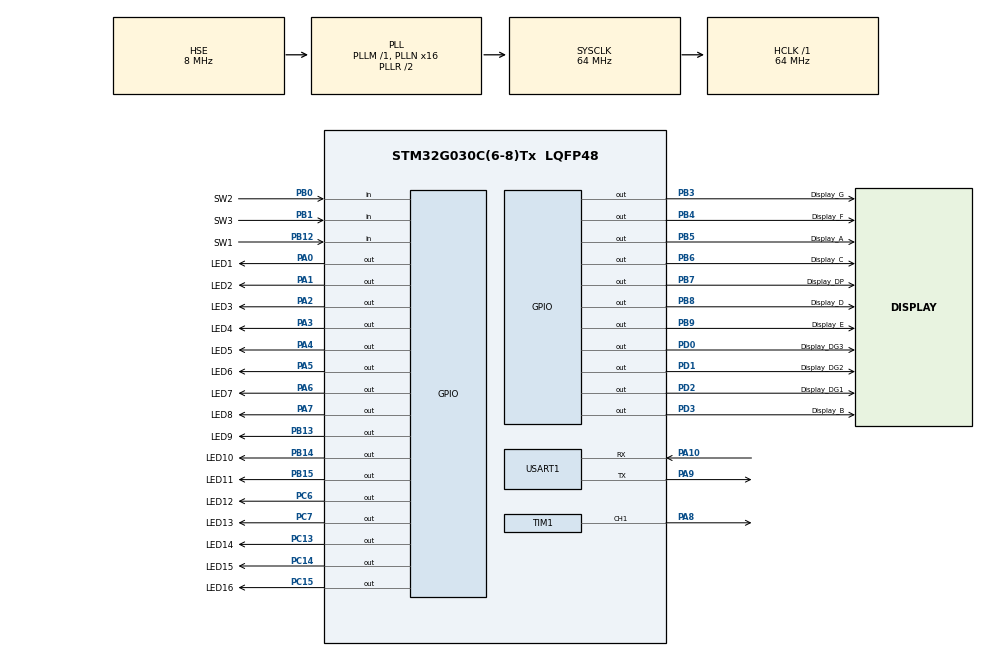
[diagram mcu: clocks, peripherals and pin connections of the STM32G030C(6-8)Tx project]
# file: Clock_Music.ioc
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FREERTOS.BinarySemaphores01=AlarmBinarySem,Dynamic,NULL,Depleted
FREERTOS.Events01=DispEvent,Dynamic,NULL
FREERTOS.HEAP_NUMBER=4
FREERTOS.Mutexes01=TimeMutex,Dynamic,NULL,Available
FREERTOS.Queues01=ComQueue,3,9,1,Dynamic,NULL,NULL;KeyQueue,2,uint8_t,0,Dynamic,NULL,NULL
FREERTOS.Tasks01=ProcTask,24,64,StartProcTask,Default,NULL,Dynamic,NULL,NULL
FREERTOS.Timers01=msTimer,msTimerCallback,osTimerPeriodic,Default,NULL,Dynamic,NULL
FREERTOS.configMINIMAL_STACK_SIZE=64
FREERTOS.configTIMER_TASK_STACK_DEPTH=64
Mcu.Family=STM32G0
Mcu.Name=STM32G030C(6-8)Tx
Mcu.Package=LQFP48
NVIC.TIM16_IRQn=true\:3\:0\:false\:false\:true\:false\:false\:true\:true
NVIC.TimeBase=TIM16_IRQn
NVIC.TimeBaseIP=TIM16
NVIC.USART1_IRQn=true\:3\:0\:false\:false\:true\:true\:true\:true\:true
PA0.GPIO_Label=LED1
PA0.Signal=GPIO_Output
PA1.GPIO_Label=LED2
PA1.Signal=GPIO_Output
PA10.Mode=Asynchronous
PA10.Signal=USART1_RX
PA13.Mode=Serial_Wire
PA13.Signal=SYS_SWDIO
PA14-BOOT0.Mode=Serial_Wire
PA14-BOOT0.Signal=SYS_SWCLK
PA2.GPIO_Label=LED3
PA2.Signal=GPIO_Output
PA3.GPIO_Label=LED4
PA3.Signal=GPIO_Output
PA4.GPIO_Label=LED5
PA4.Signal=GPIO_Output
PA5.GPIO_Label=LED6
PA5.Signal=GPIO_Output
PA6.GPIO_Label=LED7
PA6.Signal=GPIO_Output
PA7.GPIO_Label=LED8
PA7.Signal=GPIO_Output
PA8.Signal=S_TIM1_CH1
PA9.Mode=Asynchronous
PA9.Signal=USART1_TX
PB0.GPIO_Label=SW2
PB0.Signal=GPIO_Input
PB1.GPIO_Label=SW3
PB1.Signal=GPIO_Input
PB12.GPIO_Label=SW1
PB12.Signal=GPIO_Input
PB13.GPIO_Label=LED9
PB13.Signal=GPIO_Output
PB14.GPIO_Label=LED10
PB14.Signal=GPIO_Output
PB15.GPIO_Label=LED11
PB15.Signal=GPIO_Output
PB3.GPIO_Label=Display_G
PB3.Signal=GPIO_Output
PB4.GPIO_Label=Display_F
PB4.Signal=GPIO_Output
PB5.GPIO_Label=Display_A
PB5.Signal=GPIO_Output
PB6.GPIO_Label=Display_C
PB6.Signal=GPIO_Output
PB7.GPIO_Label=Display_DP
PB7.Signal=GPIO_Output
PB8.GPIO_Label=Display_D
PB8.Signal=GPIO_Output
PB9.GPIO_Label=Display_E
PB9.Signal=GPIO_Output
PC13.GPIO_Label=LED14
PC13.Signal=GPIO_Output
PC14-OSC32_IN\ (PC14).GPIO_Label=LED15
PC14-OSC32_IN\ (PC14).Signal=GPIO_Output
PC15-OSC32_OUT\ (PC15).GPIO_Label=LED16
PC15-OSC32_OUT\ (PC15).Signal=GPIO_Output
PC6.GPIO_Label=LED12
PC6.Signal=GPIO_Output
PC7.GPIO_Label=LED13
PC7.Signal=GPIO_Output
PD0.GPIO_Label=Display_DG3
PD0.Signal=GPIO_Output
PD1.GPIO_Label=Display_DG2
PD1.Signal=GPIO_Output
PD2.GPIO_Label=Display_DG1
PD2.Signal=GPIO_Output
PD3.GPIO_Label=Display_B
PD3.Signal=GPIO_Output
PF0-OSC_IN\ (PF0).Mode=HSE-External-Oscillator
PF0-OSC_IN\ (PF0).Signal=RCC_OSC_IN
PF1-OSC_OUT\ (PF1).Mode=HSE-External-Oscillator
PF1-OSC_OUT\ (PF1).Signal=RCC_OSC_OUT
ProjectManager.HeapSize=0x200
ProjectManager.StackSize=0x400
ProjectManager.TargetToolchain=MDK-ARM V5.32
RCC.ADCFreq_Value=64000000
RCC.AHBFreq_Value=64000000
RCC.CortexFreq_Value=64000000
RCC.EXTERNAL_CLOCK_VALUE=12288000
RCC.HCLKFreq_Value=64000000
RCC.HSE_VALUE=8000000
RCC.HSI_VALUE=16000000
RCC.LSE_VALUE=32768
RCC.PLLN=16
RCC.PLLSourceVirtual=RCC_PLLSOURCE_HSE
RCC.SYSCLKFreq_VALUE=64000000
RCC.SYSCLKSource=RCC_SYSCLKSOURCE_PLLCLK
RCC.VCOOutputFreq_Value=128000000
SH.S_TIM1_CH1.0=TIM1_CH1,PWM Generation1 CH1
TIM1.AutoReloadPreload=TIM_AUTORELOAD_PRELOAD_ENABLE
TIM1.Channel-PWM\ Generation1\ CH1=TIM_CHANNEL_1
TIM1.Period=65535
TIM1.Prescaler=7
TIM1.Pulse-PWM\ Generation1\ CH1=0
USART1.VirtualMode-Asynchronous=VM_ASYNC
VP_FREERTOS_VS_CMSIS_V2.Mode=CMSIS_V2
VP_SYS_VS_tim16.Mode=TIM16
VP_TIM1_VS_ClockSourceINT.Mode=Internal
board=custom

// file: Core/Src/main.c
/* USER CODE BEGIN Header */
/**
  ******************************************************************************
  * @file           : main.c
  * @brief          : Main program body
  ******************************************************************************
  * @attention
  *
  * Copyright (c) 2025 STMicroelectronics.
  * All rights reserved.
  *
  * This software is licensed under terms that can be found in the LICENSE file
  * in the root directory of this software component.
  * If no LICENSE file comes with this software, it is provided AS-IS.
  *
  ******************************************************************************
  */
/* USER CODE END Header */
#include "main.h"
#include "cmsis_os.h"
#include "tim.h"
#include "usart.h"
#include "gpio.h"

void SystemClock_Config(void);
void MX_FREERTOS_Init(void);

int main(void)
{

  /* MCU Configuration--------------------------------------------------------*/

  /* Reset of all peripherals, Initializes the Flash interface and the Systick. */
  HAL_Init();

  /* Configure the system clock */
  SystemClock_Config();

  /* Initialize all configured peripherals */
  MX_GPIO_Init();
  MX_USART1_UART_Init();
  MX_TIM1_Init();
  /* USER CODE BEGIN 2 */
//	//开启定时器
//	HAL_TIM_Base_Start(&htim1);
//	//start pwm channel
//	//开启PWM通道
//	HAL_TIM_PWM_Start(&htim1, TIM_CHANNEL_1);
//	//关闭蜂鸣器
//	buzzer_off();

  // 数码管清屏，防止意外点亮
  Clear_Display();

	MoleMusicVolum = 1;						//music volume,range:1~10,1high10low
	enable_music_player();

	Refresh_LED(~0);

  /* USER CODE END 2 */

  /* Init scheduler */
  osKernelInitialize();

  /* Call init function for freertos objects (in cmsis_os2.c) */
  MX_FREERTOS_Init();

  /* Start scheduler */
  osKernelStart();

  /* We should never get here as control is now taken by the scheduler */

  /* Infinite loop */
  while (1)
  {

  }
}

void SystemClock_Config(void)
{
  RCC_OscInitTypeDef RCC_OscInitStruct = {0};
  RCC_ClkInitTypeDef RCC_ClkInitStruct = {0};

  /** Configure the main internal regulator output voltage
  */
  HAL_PWREx_ControlVoltageScaling(PWR_REGULATOR_VOLTAGE_SCALE1);

  /** Initializes the RCC Oscillators according to the specified parameters
  * in the RCC_OscInitTypeDef structure.
  */
  RCC_OscInitStruct.OscillatorType = RCC_OSCILLATORTYPE_HSE;
  RCC_OscInitStruct.HSEState = RCC_HSE_ON;
  RCC_OscInitStruct.PLL.PLLState = RCC_PLL_ON;
  RCC_OscInitStruct.PLL.PLLSource = RCC_PLLSOURCE_HSE;
  RCC_OscInitStruct.PLL.PLLM = RCC_PLLM_DIV1;
  RCC_OscInitStruct.PLL.PLLN = 16;
  RCC_OscInitStruct.PLL.PLLP = RCC_PLLP_DIV2;
  RCC_OscInitStruct.PLL.PLLR = RCC_PLLR_DIV2;
  if (HAL_RCC_OscConfig(&RCC_OscInitStruct) != HAL_OK)
  {
    Error_Handler();
  }

  /** Initializes the CPU, AHB and APB buses clocks
  */
  RCC_ClkInitStruct.ClockType = RCC_CLOCKTYPE_HCLK|RCC_CLOCKTYPE_SYSCLK
                              |RCC_CLOCKTYPE_PCLK1;
  RCC_ClkInitStruct.SYSCLKSource = RCC_SYSCLKSOURCE_PLLCLK;
  RCC_ClkInitStruct.AHBCLKDivider = RCC_SYSCLK_DIV1;
  RCC_ClkInitStruct.APB1CLKDivider = RCC_HCLK_DIV1;

  if (HAL_RCC_ClockConfig(&RCC_ClkInitStruct, FLASH_LATENCY_2) != HAL_OK)
  {
    Error_Handler();
  }
}

void HAL_TIM_PeriodElapsedCallback(TIM_HandleTypeDef *htim)
{
  if (htim->Instance == TIM16) {
    HAL_IncTick();
  }
}

void Error_Handler(void)
{
  __disable_irq();
  while (1)
  {
  }
}

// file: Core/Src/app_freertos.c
/* USER CODE BEGIN Header */
/**
  ******************************************************************************
  * File Name          : app_freertos.c
  * Description        : Code for freertos applications
  ******************************************************************************
  * @attention
  *
  * Copyright (c) 2025 STMicroelectronics.
  * All rights reserved.
  *
  * This software is licensed under terms that can be found in the LICENSE file
  * in the root directory of this software component.
  * If no LICENSE file comes with this software, it is provided AS-IS.
  *
  ******************************************************************************
  */
/* USER CODE END Header */

#include "FreeRTOS.h"
#include "task.h"
#include "main.h"
#include "cmsis_os.h"

/* USER CODE BEGIN PM */
//static void play_BGM(uint8_t volume_level,Note_TypeDef* BGM);

//static void BGM_handler(void);
/* USER CODE END PM */

/* Definitions for ProcTask */
osThreadId_t ProcTaskHandle;
const osThreadAttr_t ProcTask_attributes = {
  .name = "ProcTask",
  .priority = (osPriority_t) osPriorityNormal,
  .stack_size = 64 * 4
};
/* Definitions for ComQueue */
osMessageQueueId_t ComQueueHandle;
const osMessageQueueAttr_t ComQueue_attributes = {
  .name = "ComQueue"
};
/* Definitions for KeyQueue */
osMessageQueueId_t KeyQueueHandle;
const osMessageQueueAttr_t KeyQueue_attributes = {
  .name = "KeyQueue"
};
/* Definitions for msTimer */
osTimerId_t msTimerHandle;
const osTimerAttr_t msTimer_attributes = {
  .name = "msTimer"
};
/* Definitions for TimeMutex */
osMutexId_t TimeMutexHandle;
const osMutexAttr_t TimeMutex_attributes = {
  .name = "TimeMutex"
};
/* Definitions for AlarmBinarySem */
osSemaphoreId_t AlarmBinarySemHandle;
const osSemaphoreAttr_t AlarmBinarySem_attributes = {
  .name = "AlarmBinarySem"
};
/* Definitions for DispEvent */
osEventFlagsId_t DispEventHandle;
const osEventFlagsAttr_t DispEvent_attributes = {
  .name = "DispEvent"
};

void StartProcTask(void *argument);
void msTimerCallback(void *argument);

void MX_FREERTOS_Init(void); /* (MISRA C 2004 rule 8.1) */

void MX_FREERTOS_Init(void) {
  /* Create the mutex(es) */
  /* creation of TimeMutex */
  TimeMutexHandle = osMutexNew(&TimeMutex_attributes);

  /* Create the semaphores(s) */
  /* creation of AlarmBinarySem */
  AlarmBinarySemHandle = osSemaphoreNew(1, 0, &AlarmBinarySem_attributes);

  /* Create the timer(s) */
  /* creation of msTimer */
  msTimerHandle = osTimerNew(msTimerCallback, osTimerPeriodic, NULL, &msTimer_attributes);

  /* USER CODE BEGIN RTOS_TIMERS */
  /* start timers, add new ones, ... */
	osTimerStart(msTimerHandle,10);
  /* USER CODE END RTOS_TIMERS */

  /* Create the queue(s) */
  /* creation of ComQueue */
  ComQueueHandle = osMessageQueueNew (3, 9, &ComQueue_attributes);

  /* creation of KeyQueue */
  KeyQueueHandle = osMessageQueueNew (2, sizeof(uint8_t), &KeyQueue_attributes);

  /* Create the thread(s) */
  /* creation of ProcTask */
  ProcTaskHandle = osThreadNew(StartProcTask, NULL, &ProcTask_attributes);

  /* creation of DispEvent */
  DispEventHandle = osEventFlagsNew(&DispEvent_attributes);

}

void StartProcTask(void *argument)
{
  /* USER CODE BEGIN StartProcTask */
  /* Infinite loop */
  for(;;)
  {
		if(t_led>61)
		{
			t_led=0;
			Refresh_LED(~led_state<<k);
			k++;
		}
		number=minute*100+second;//100;

		if(!alarm)
		{
			Hundred_Display(number,display_birghness);
			if(Music_Off)
				Music_Flag=MUSIC_FINISH;
		}
		else
		{
//			if(Music_Flag==MUSIC_FINISH)
//			{
//				if(Music_List==0)
//				{
//					Hundred_Display(100,display_birghness);
//					music_player(MoleMusicVolum,POLICE_MUSIC);
//				}
//				else if(Music_List==1)
//				{
//					Hundred_Display(100,display_birghness);
//					music_player(MoleMusicVolum,TEST1_MUSIC);
//				}
//				else if(Music_List==2)
//				{
//					Hundred_Display(100,display_birghness);
//					music_player(MoleMusicVolum,TWO_TIGERS_MUSIC);
//				}
//				else if(Music_List==3)
//				{
//					Hundred_Display(1,display_birghness);
//					music_player(MoleMusicVolum,DOU_DI_ZHU_MUSIC);
//				}
//				else if(Music_List==4)
//				{
//					Hundred_Display(1,display_birghness);
//					music_player(MoleMusicVolum,PEPPA_PIG_MUSIC);
//				}
//				else
//				{
//					Hundred_Display(1,display_birghness);
//					music_player(MoleMusicVolum,AMBULANCE_MUSIC);
//				}
//			}
//
//			else
//			{
			HAL_GPIO_WritePin(Display_DG1_GPIO_Port,Display_DG1_Pin,GPIO_PIN_SET);
			HAL_GPIO_WritePin(Display_DG2_GPIO_Port,Display_DG2_Pin,GPIO_PIN_SET);
			HAL_GPIO_WritePin(Display_DG3_GPIO_Port,Display_DG3_Pin,GPIO_PIN_SET);
			HAL_GPIO_WritePin( Display_G_GPIO_Port,  Display_G_Pin, GPIO_PIN_RESET);//B3		G
			HAL_GPIO_WritePin( Display_E_GPIO_Port,  Display_E_Pin, GPIO_PIN_SET);//B9		E
			HAL_GPIO_WritePin( Display_D_GPIO_Port,  Display_D_Pin, GPIO_PIN_SET);//B8		D
			HAL_GPIO_WritePin( Display_DP_GPIO_Port,  Display_DP_Pin, GPIO_PIN_SET);//B7		DP
			HAL_GPIO_WritePin( Display_C_GPIO_Port,  Display_C_Pin, GPIO_PIN_SET);//B6		C
			HAL_GPIO_WritePin( Display_A_GPIO_Port,  Display_A_Pin, GPIO_PIN_SET);//B5		A
			HAL_GPIO_WritePin( Display_F_GPIO_Port,  Display_F_Pin, GPIO_PIN_SET);//B4		F
			HAL_GPIO_WritePin( Display_B_GPIO_Port,  Display_B_Pin, GPIO_PIN_SET);//D3  B

//			if(alarm)
//			{
//				buzzer_off();

			if(Music_Flag==MUSIC_FINISH)
			{
				if(Music_List==0)
					music_player(MoleMusicVolum,TEST1_MUSIC);
				else if(Music_List==1)
					music_player(MoleMusicVolum,DOU_DI_ZHU_MUSIC);
				else if(Music_List==2)
					music_player(MoleMusicVolum,TWO_TIGERS_MUSIC);
				else if(Music_List==3)
					music_player(MoleMusicVolum,POLICE_MUSIC);
				else if(Music_List==4)
					music_player(MoleMusicVolum,PEPPA_PIG_MUSIC);
				else
					music_player(MoleMusicVolum,AMBULANCE_MUSIC);
//			}
			}
		}

//		//蜂鸣器开启SUPER_MARIO_MUSIC
//		buzzer_on(psc, pwm);
//		}
		if(g_iButtonState_SW3)
		{
			Count_Down_Flag=!Count_Down_Flag;
			if(alarm)
			{
				alarm=0;
				minute=5;
				Music_Flag=MUSIC_FINISH;
			}

				g_iButtonState_SW3=0;
		}

		if(g_iButtonState_SW1)
		{
			if(minute!=9)
				minute++;
			g_iButtonState_SW1=0;
		}
		if(g_iButtonState_SW2)
		{

		if(Music_List==5)
			Music_List=0;
		else
			Music_List++;
		if(Music_List==0)
			music_player(MoleMusicVolum,POLICE_MUSIC);
		else if(Music_List==1)
			music_player(MoleMusicVolum,GALAYOUMUSIC);
		else if(Music_List==2)
			music_player(MoleMusicVolum,TWO_TIGERS_MUSIC);
		else if(Music_List==5)
			music_player(MoleMusicVolum,DOU_DI_ZHU_MUSIC);
		else if(Music_List==4)
			music_player(MoleMusicVolum,PEPPA_PIG_MUSIC);
		else if(Music_List==3)
			music_player(MoleMusicVolum,SUPER_MARIO_MUSIC);
		else
			music_player(MoleMusicVolum,AMBULANCE_MUSIC);

//			if(minute!=0)
//				minute--;
			g_iButtonState_SW2=0;
		}

//		if(g_iButtonState_SW2)
//		{
//			if(minute!=0)
//				minute--;
//			g_iButtonState_SW2=0;
//		}

		if(g_iButtonStatel_SW1)
		{
			if(minute!=0)
				minute--;
			g_iButtonStatel_SW1=0;
		}

		if(g_iButtonStatel_SW2)
		{
			Music_Off=!Music_Off;
		if(Music_Off)
			Music_Flag=MUSIC_FINISH;
		else
		{
			Cycle_Flag=!Cycle_Flag;
			Music_Flag=MUSIC_BEGIN;
		}
			g_iButtonStatel_SW2=0;
		}

//	if(g_iButtonState_SW1)
//	{
//		if(Music_List==2)
//			Music_List=0;
//		else
//			Music_List++;
//		if(Music_List==0)
//			music_player(MoleMusicVolum,TEST_MUSIC);
//		else if(Music_List==1)
//			music_player(MoleMusicVolum,CREATE_MUSIC);
////		else if(Music_List==2)
////			music_player(MoleMusicVolum,MISS_MUSIC);
////		else if(Music_List==3)
////			music_player(MoleMusicVolum,POLICE_MUSIC);
////		else if(Music_List==4)
////			music_player(MoleMusicVolum,CREATE_MUSIC);
//		else
//			music_player(MoleMusicVolum,TEST1_MUSIC);

//		if(Music_List==0)
//			music_player(MoleMusicVolum,POLICE_MUSIC);
//		else if(Music_List==1)
//			music_player(MoleMusicVolum,SUPER_MARIO_MUSIC);
//		else if(Music_List==2)
//			music_player(MoleMusicVolum,TWO_TIGERS_MUSIC);
//		else if(Music_List==3)
//			music_player(MoleMusicVolum,DOU_DI_ZHU_MUSIC);
//		else if(Music_List==4)
//			music_player(MoleMusicVolum,PEPPA_PIG_MUSIC);
//		else
//			music_player(MoleMusicVolum,AMBULANCE_MUSIC);

//		g_iButtonState_SW1=0;
//	}

	t_ms++;
	t_led++;
	t_tube++;
	if(t_ms>1000)
	{
		k=0;
		t_ms=0;
		if(Count_Down_Flag)
		{
			if(second)
				second--;
			else
			{
				if(minute)
				{
					minute--;
					second=59;
				}
				else
					alarm=1;
			}
		}
	}
	if(alarm)
		psc++;
/*******************************************************************************************************************/
		if( HAL_GPIO_ReadPin(SW1_GPIO_Port,SW1_Pin) == GPIO_PIN_RESET )//如果引脚检测到          低电平
		{
			iButtonCount_SW1++; //按键按下，计数iButtonCount加1
			if(iButtonCount_SW1>=7) //1ms中断服务函数里运行一次，iButtonCount大于等于16，即按键已稳定按下16ms
			{
				if(iButtonCount_SW1>=500)
				{
					g_iButtonStates_SW1=0;
					if(iButtonFlag_SW1==0) //判断有没有重按键，1为有，0为没有
					{
						iButtonFlag_SW1=1; //设置重按键标志
						g_iButtonStatel_SW1=1; //设置按键标志
					}
					iButtonCount_SW1=0;
				}
				else if(iButtonFlag_SW1==0)
						g_iButtonStates_SW1=1; //设置按键标志
			}
			else //如果没有稳定按下7ms，则代表没有按下按键
				g_iButtonState_SW1=0;
		}
		else //如果一直无检测到低电平，即一直无按键按下
		{
			if(g_iButtonStates_SW1==1)
			{
				g_iButtonState_SW1=1; //清除按键标志
				g_iButtonStates_SW1=0;
			}
			iButtonCount_SW1=0; //清零iButtonCount
			iButtonFlag_SW1=0; //清除重按键标志
		}
		if( HAL_GPIO_ReadPin(SW2_GPIO_Port,SW2_Pin) == GPIO_PIN_RESET )//如果引脚检测到          低电平
		{
			iButtonCount_SW2++; //按键按下，计数iButtonCount加1

			if(iButtonCount_SW2>=7) //1ms中断服务函数里运行一次，iButtonCount大于等于16，即按键已稳定按下16ms
			{
				if(iButtonCount_SW2>=500)
				{
					g_iButtonStates_SW2=0;
					if(iButtonFlag_SW2==0) //判断有没有重按键，1为有，0为没有
					{
						iButtonFlag_SW2=1; //设置重按键标志
						g_iButtonStatel_SW2=1; //设置按键标志
					}
					iButtonCount_SW2=0;
				}
				else if(iButtonFlag_SW2==0)
						g_iButtonStates_SW2=1; //设置按键标志
			}
			else //如果没有稳定按下7ms，则代表没有按下按键
				g_iButtonState_SW2=0;
		}
		else //如果一直无检测到低电平，即一直无按键按下
		{
			if(g_iButtonStates_SW2==1)
			{
				g_iButtonState_SW2=1; //清除按键标志
				g_iButtonStates_SW2=0;
			}
			iButtonCount_SW2=0; //清零iButtonCount
			iButtonFlag_SW2=0; //清除重按键标志
		}
		if( HAL_GPIO_ReadPin(SW3_GPIO_Port,SW3_Pin) == GPIO_PIN_RESET )//如果引脚检测到          低电平
		{
			iButtonCount_SW3++; //按键按下，计数iButtonCount加1
			if(iButtonCount_SW3>=7) //1ms中断服务函数里运行一次，iButtonCount大于等于16，即按键已稳定按下16ms
			{
				if(iButtonFlag_SW3==0) //判断有没有重按键，1为有，0为没有
				{
					g_iButtonState_SW3=1; //设置按键标志
					iButtonCount_SW3=0;
					iButtonFlag_SW3=1; //设置重按键标志
				}
				else //如果重按键，则重新计数
					iButtonCount_SW3=0;
			}
			else //如果没有稳定按下7ms，则代表没有按下按键
				g_iButtonState_SW3=0;
		}
		else //如果一直无检测到低电平，即一直无按键按下
		{
			iButtonCount_SW3=0; //清零iButtonCount
			g_iButtonState_SW3=0; //清除按键标志
			iButtonFlag_SW3=0; //清除重按键标志
		}
    osDelay(1);
  }
  /* USER CODE END StartProcTask */
}

/* msTimerCallback function */
void msTimerCallback(void *argument)
{
  /* USER CODE BEGIN msTimerCallback */

////		设 置 pwm 的值在MIN_BUZZER_PWM和 MAX_BUZZER_PWM之间变动
//		if(pwm > MAX_BUZZER_PWM)
//		{
//			pwm = MIN_BUZZER_PWM;
//		}
//		//psc 的值在0 和 MAX_PSC之间变动
//		if(psc > MAX_PSC)
//		{
//			psc = 0;
//		}
if((Music_Flag == MUSIC_BEGIN)||(Music_Flag == MUSIC_CONTINUE))
	{
	 BGM_handler();
	}
	else//播放静止音
	{
		play_a_note(0,Music_Volume);
	}
  /* USER CODE END msTimerCallback */
}
